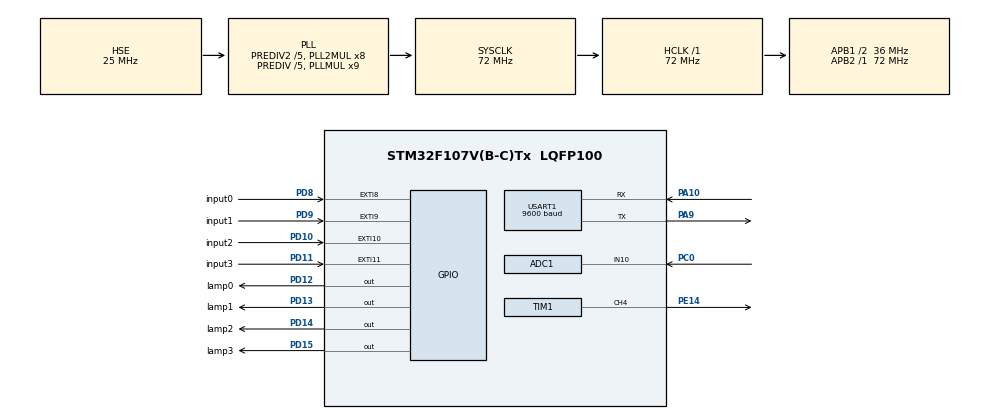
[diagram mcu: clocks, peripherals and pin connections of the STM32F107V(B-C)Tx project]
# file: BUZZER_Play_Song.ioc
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ADC1.Channel-0\#ChannelRegularConversion=ADC_CHANNEL_10
ADC1.NbrOfConversionFlag=1
ADC1.Rank-0\#ChannelRegularConversion=1
ADC1.SamplingTime-0\#ChannelRegularConversion=ADC_SAMPLETIME_1CYCLE_5
ADC1.master=1
Mcu.Family=STM32F1
Mcu.Name=STM32F107V(B-C)Tx
Mcu.Package=LQFP100
NVIC.EXTI15_10_IRQn=true\:0\:0\:false\:false\:true\:true\:true
NVIC.EXTI9_5_IRQn=true\:0\:0\:false\:false\:true\:true\:true
NVIC.PriorityGroup=NVIC_PRIORITYGROUP_4
NVIC.TIM3_IRQn=true\:0\:0\:false\:false\:true\:true\:true
OSC_IN.Mode=HSE-External-Oscillator
OSC_IN.Signal=RCC_OSC_IN
OSC_OUT.Mode=HSE-External-Oscillator
OSC_OUT.Signal=RCC_OSC_OUT
PA10.Mode=Asynchronous
PA10.Signal=USART1_RX
PA13.Mode=Serial_Wire
PA13.Signal=SYS_JTMS-SWDIO
PA14.Mode=Serial_Wire
PA14.Signal=SYS_JTCK-SWCLK
PA9.Mode=Asynchronous
PA9.Signal=USART1_TX
PC0.Signal=ADCx_IN10
PD10.GPIO_Label=input2
PD10.Signal=GPXTI10
PD11.GPIO_Label=input3
PD11.Signal=GPXTI11
PD12.GPIO_Label=lamp0
PD12.Signal=GPIO_Output
PD13.GPIO_Label=lamp1
PD13.Signal=GPIO_Output
PD14.GPIO_Label=lamp2
PD14.Signal=GPIO_Output
PD15.GPIO_Label=lamp3
PD15.Signal=GPIO_Output
PD8.GPIO_Label=input0
PD8.Signal=GPXTI8
PD9.GPIO_Label=input1
PD9.Signal=GPXTI9
PE14.Signal=S_TIM1_CH4
ProjectManager.HeapSize=0x200
ProjectManager.StackSize=0x400
ProjectManager.TargetToolchain=MDK-ARM V5
RCC.ADCPresc=RCC_ADCPCLK2_DIV8
RCC.AHBFreq_Value=72000000
RCC.APB1CLKDivider=RCC_HCLK_DIV2
RCC.APB1Freq_Value=36000000
RCC.APB1TimFreq_Value=72000000
RCC.APB2Freq_Value=72000000
RCC.APB2TimFreq_Value=72000000
RCC.HCLKFreq_Value=72000000
RCC.HSEDivPLL=RCC_HSE_PREDIV_DIV5
RCC.HSE_VALUE=25000000
RCC.PLLMUL=RCC_PLL_MUL9
RCC.PLLSourceVirtual=RCC_PLLSOURCE_HSE
RCC.Prediv1Source=RCC_PREDIV1_SOURCE_PLL2
RCC.Prediv2=RCC_HSE_PREDIV2_DIV5
RCC.SYSCLKFreq_VALUE=72000000
RCC.SYSCLKSource=RCC_SYSCLKSOURCE_PLLCLK
RCC.USBFreq_Value=48000000
SH.ADCx_IN10.0=ADC1_IN10,IN10
SH.S_TIM1_CH4.0=TIM1_CH4,PWM Generation4 CH4
TIM1.Channel-PWM\ Generation4\ CH4=TIM_CHANNEL_4
TIM1.Period=0xFFFF
TIM1.Prescaler=21
TIM1.Pulse-PWM\ Generation4\ CH4=50
TIM3.Period=0xFFFF
TIM3.Prescaler=21
USART1.BaudRate=9600
USART1.VirtualMode=VM_ASYNC
VP_TIM3_VS_ClockSourceINT.Mode=Internal
board=custom

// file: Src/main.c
/* USER CODE BEGIN Header */
/**
  ******************************************************************************
  * @file           : main.c
  * @brief          : Main program body
  ******************************************************************************
  ** This notice applies to any and all portions of this file
  * that are not between comment pairs USER CODE BEGIN and
  * USER CODE END. Other portions of this file, whether
  * inserted by the user or by software development tools
  * are owned by their respective copyright owners.
  *
  * COPYRIGHT(c) 2019 STMicroelectronics
  *
  * Redistribution and use in source and binary forms, with or without modification,
  * are permitted provided that the following conditions are met:
  *   1. Redistributions of source code must retain the above copyright notice,
  *      this list of conditions and the following disclaimer.
  *   2. Redistributions in binary form must reproduce the above copyright notice,
  *      this list of conditions and the following disclaimer in the documentation
  *      and/or other materials provided with the distribution.
  *   3. Neither the name of STMicroelectronics nor the names of its contributors
  *      may be used to endorse or promote products derived from this software
  *      without specific prior written permission.
  *
  * THIS SOFTWARE IS PROVIDED BY THE COPYRIGHT HOLDERS AND CONTRIBUTORS "AS IS"
  * AND ANY EXPRESS OR IMPLIED WARRANTIES, INCLUDING, BUT NOT LIMITED TO, THE
  * IMPLIED WARRANTIES OF MERCHANTABILITY AND FITNESS FOR A PARTICULAR PURPOSE ARE
  * DISCLAIMED. IN NO EVENT SHALL THE COPYRIGHT HOLDER OR CONTRIBUTORS BE LIABLE
  * FOR ANY DIRECT, INDIRECT, INCIDENTAL, SPECIAL, EXEMPLARY, OR CONSEQUENTIAL
  * DAMAGES (INCLUDING, BUT NOT LIMITED TO, PROCUREMENT OF SUBSTITUTE GOODS OR
  * SERVICES; LOSS OF USE, DATA, OR PROFITS; OR BUSINESS INTERRUPTION) HOWEVER
  * CAUSED AND ON ANY THEORY OF LIABILITY, WHETHER IN CONTRACT, STRICT LIABILITY,
  * OR TORT (INCLUDING NEGLIGENCE OR OTHERWISE) ARISING IN ANY WAY OUT OF THE USE
  * OF THIS SOFTWARE, EVEN IF ADVISED OF THE POSSIBILITY OF SUCH DAMAGE.
  *
  ******************************************************************************
  */
/* USER CODE END Header */

#include "main.h"

/* USER CODE BEGIN Includes */
#include <math.h>
#include <stdbool.h>
/* USER CODE END Includes */

ADC_HandleTypeDef hadc1;

TIM_HandleTypeDef htim1;
TIM_HandleTypeDef htim3;

UART_HandleTypeDef huart1;

/* USER CODE BEGIN PV */
int8_t song[] = {-3, 2, 5, 4, 2, 5, 2, 4, 2, -2, 0, -3};
uint8_t songSize = 12;
/* USER CODE END PV */

void SystemClock_Config(void);
static void MX_GPIO_Init(void);
static void MX_TIM1_Init(void);
static void MX_ADC1_Init(void);
static void MX_USART1_UART_Init(void);
static void MX_TIM3_Init(void);

/* USER CODE BEGIN 0 */
char temp[64];
uint8_t datastring[64];
bool lamps[] = {0,0,0,0};
int timeTick=0;
/* USER CODE END 0 */

int main(void)
{

  /* MCU Configuration--------------------------------------------------------*/

  /* Reset of all peripherals, Initializes the Flash interface and the Systick. */
  HAL_Init();

  /* Configure the system clock */
  SystemClock_Config();

  /* Initialize all configured peripherals */
  MX_GPIO_Init();
  MX_TIM1_Init();
  MX_ADC1_Init();
  MX_USART1_UART_Init();
  MX_TIM3_Init();
  /* USER CODE BEGIN 2 */
	HAL_TIM_PWM_Start(&htim1,TIM_CHANNEL_4);
	HAL_ADCEx_Calibration_Start(&hadc1);
	HAL_TIM_Base_Start_IT(&htim3);

  /* USER CODE END 2 */

  /* Infinite loop */
  /* USER CODE BEGIN WHILE */
	uint32_t adcReturnValue = 0;
	int8_t n = 0;
	double_t noteFreq = 440;
	uint16_t arr = 1000;

  while (1)
  {

		HAL_ADC_Start(&hadc1);

		if ( HAL_ADC_PollForConversion(&hadc1,1000) == HAL_OK){
			adcReturnValue = HAL_ADC_GetValue(&hadc1);
			n = floor(adcReturnValue / 42.217) - 36;
			noteFreq = 440*pow(1.059463094359, n);
			arr = (double_t)72000000 / noteFreq / (htim1.Init.Prescaler+ 1) - 1;
			__HAL_TIM_SET_AUTORELOAD(&htim1, arr);//set the new period
			__HAL_TIM_SET_COMPARE(&htim1, TIM_CHANNEL_4, (int)arr/2);//keep 50% duty cycle
		}

		sprintf(temp, "\r\n* Time: %d\r\n* Temp: %d\r\n* Lamps:\r\n\t1. %s\r\n\t2. %s\r\n\t3. %s\r\n\t4. %s\r\n", timeTick, adcReturnValue,
		lamps[0] ? "T" : "F",
		lamps[1] ? "T" : "F",
		lamps[2] ? "T" : "F",
		lamps[3] ? "T" : "F");

		for(int i=0;i<50;i++){
			datastring[i]=temp[i];
		}
		HAL_UART_Transmit(&huart1, datastring, sizeof(datastring), HAL_MAX_DELAY);

		HAL_Delay(100);
		HAL_ADC_Stop(&hadc1);
    /* USER CODE END WHILE */

  }
}

void SystemClock_Config(void)
{
  RCC_OscInitTypeDef RCC_OscInitStruct = {0};
  RCC_ClkInitTypeDef RCC_ClkInitStruct = {0};
  RCC_PeriphCLKInitTypeDef PeriphClkInit = {0};

  /**Initializes the CPU, AHB and APB busses clocks
  */
  RCC_OscInitStruct.OscillatorType = RCC_OSCILLATORTYPE_HSE;
  RCC_OscInitStruct.HSEState = RCC_HSE_ON;
  RCC_OscInitStruct.HSEPredivValue = RCC_HSE_PREDIV_DIV5;
  RCC_OscInitStruct.HSIState = RCC_HSI_ON;
  RCC_OscInitStruct.Prediv1Source = RCC_PREDIV1_SOURCE_PLL2;
  RCC_OscInitStruct.PLL.PLLState = RCC_PLL_ON;
  RCC_OscInitStruct.PLL.PLLSource = RCC_PLLSOURCE_HSE;
  RCC_OscInitStruct.PLL.PLLMUL = RCC_PLL_MUL9;
  RCC_OscInitStruct.PLL2.PLL2State = RCC_PLL2_ON;
  RCC_OscInitStruct.PLL2.PLL2MUL = RCC_PLL2_MUL8;
  RCC_OscInitStruct.PLL2.HSEPrediv2Value = RCC_HSE_PREDIV2_DIV5;
  if (HAL_RCC_OscConfig(&RCC_OscInitStruct) != HAL_OK)
  {
    Error_Handler();
  }
  /**Initializes the CPU, AHB and APB busses clocks
  */
  RCC_ClkInitStruct.ClockType = RCC_CLOCKTYPE_HCLK|RCC_CLOCKTYPE_SYSCLK
                              |RCC_CLOCKTYPE_PCLK1|RCC_CLOCKTYPE_PCLK2;
  RCC_ClkInitStruct.SYSCLKSource = RCC_SYSCLKSOURCE_PLLCLK;
  RCC_ClkInitStruct.AHBCLKDivider = RCC_SYSCLK_DIV1;
  RCC_ClkInitStruct.APB1CLKDivider = RCC_HCLK_DIV2;
  RCC_ClkInitStruct.APB2CLKDivider = RCC_HCLK_DIV1;

  if (HAL_RCC_ClockConfig(&RCC_ClkInitStruct, FLASH_LATENCY_2) != HAL_OK)
  {
    Error_Handler();
  }
  PeriphClkInit.PeriphClockSelection = RCC_PERIPHCLK_ADC;
  PeriphClkInit.AdcClockSelection = RCC_ADCPCLK2_DIV8;
  if (HAL_RCCEx_PeriphCLKConfig(&PeriphClkInit) != HAL_OK)
  {
    Error_Handler();
  }
  /**Configure the Systick interrupt time
  */
  __HAL_RCC_PLLI2S_ENABLE();
}

static void MX_ADC1_Init(void)
{

  ADC_ChannelConfTypeDef sConfig = {0};

  /**Common config
  */
  hadc1.Instance = ADC1;
  hadc1.Init.ScanConvMode = ADC_SCAN_DISABLE;
  hadc1.Init.ContinuousConvMode = DISABLE;
  hadc1.Init.DiscontinuousConvMode = DISABLE;
  hadc1.Init.ExternalTrigConv = ADC_SOFTWARE_START;
  hadc1.Init.DataAlign = ADC_DATAALIGN_RIGHT;
  hadc1.Init.NbrOfConversion = 1;
  if (HAL_ADC_Init(&hadc1) != HAL_OK)
  {
    Error_Handler();
  }
  /**Configure Regular Channel
  */
  sConfig.Channel = ADC_CHANNEL_10;
  sConfig.Rank = ADC_REGULAR_RANK_1;
  sConfig.SamplingTime = ADC_SAMPLETIME_1CYCLE_5;
  if (HAL_ADC_ConfigChannel(&hadc1, &sConfig) != HAL_OK)
  {
    Error_Handler();
  }

}

static void MX_TIM1_Init(void)
{

  TIM_MasterConfigTypeDef sMasterConfig = {0};
  TIM_OC_InitTypeDef sConfigOC = {0};
  TIM_BreakDeadTimeConfigTypeDef sBreakDeadTimeConfig = {0};

  htim1.Instance = TIM1;
  htim1.Init.Prescaler = 21;
  htim1.Init.CounterMode = TIM_COUNTERMODE_UP;
  htim1.Init.Period = 0xFFFF;
  htim1.Init.ClockDivision = TIM_CLOCKDIVISION_DIV1;
  htim1.Init.RepetitionCounter = 0;
  htim1.Init.AutoReloadPreload = TIM_AUTORELOAD_PRELOAD_DISABLE;
  if (HAL_TIM_PWM_Init(&htim1) != HAL_OK)
  {
    Error_Handler();
  }
  sMasterConfig.MasterOutputTrigger = TIM_TRGO_RESET;
  sMasterConfig.MasterSlaveMode = TIM_MASTERSLAVEMODE_DISABLE;
  if (HAL_TIMEx_MasterConfigSynchronization(&htim1, &sMasterConfig) != HAL_OK)
  {
    Error_Handler();
  }
  sConfigOC.OCMode = TIM_OCMODE_PWM1;
  sConfigOC.Pulse = 50;
  sConfigOC.OCPolarity = TIM_OCPOLARITY_HIGH;
  sConfigOC.OCFastMode = TIM_OCFAST_DISABLE;
  sConfigOC.OCIdleState = TIM_OCIDLESTATE_RESET;
  sConfigOC.OCNIdleState = TIM_OCNIDLESTATE_RESET;
  if (HAL_TIM_PWM_ConfigChannel(&htim1, &sConfigOC, TIM_CHANNEL_4) != HAL_OK)
  {
    Error_Handler();
  }
  sBreakDeadTimeConfig.OffStateRunMode = TIM_OSSR_DISABLE;
  sBreakDeadTimeConfig.OffStateIDLEMode = TIM_OSSI_DISABLE;
  sBreakDeadTimeConfig.LockLevel = TIM_LOCKLEVEL_OFF;
  sBreakDeadTimeConfig.DeadTime = 0;
  sBreakDeadTimeConfig.BreakState = TIM_BREAK_DISABLE;
  sBreakDeadTimeConfig.BreakPolarity = TIM_BREAKPOLARITY_HIGH;
  sBreakDeadTimeConfig.AutomaticOutput = TIM_AUTOMATICOUTPUT_DISABLE;
  if (HAL_TIMEx_ConfigBreakDeadTime(&htim1, &sBreakDeadTimeConfig) != HAL_OK)
  {
    Error_Handler();
  }
  HAL_TIM_MspPostInit(&htim1);

}

static void MX_TIM3_Init(void)
{

  TIM_ClockConfigTypeDef sClockSourceConfig = {0};
  TIM_MasterConfigTypeDef sMasterConfig = {0};

  htim3.Instance = TIM3;
  htim3.Init.Prescaler = 21;
  htim3.Init.CounterMode = TIM_COUNTERMODE_UP;
  htim3.Init.Period = 0xFFFF;
  htim3.Init.ClockDivision = TIM_CLOCKDIVISION_DIV1;
  htim3.Init.AutoReloadPreload = TIM_AUTORELOAD_PRELOAD_DISABLE;
  if (HAL_TIM_Base_Init(&htim3) != HAL_OK)
  {
    Error_Handler();
  }
  sClockSourceConfig.ClockSource = TIM_CLOCKSOURCE_INTERNAL;
  if (HAL_TIM_ConfigClockSource(&htim3, &sClockSourceConfig) != HAL_OK)
  {
    Error_Handler();
  }
  sMasterConfig.MasterOutputTrigger = TIM_TRGO_RESET;
  sMasterConfig.MasterSlaveMode = TIM_MASTERSLAVEMODE_DISABLE;
  if (HAL_TIMEx_MasterConfigSynchronization(&htim3, &sMasterConfig) != HAL_OK)
  {
    Error_Handler();
  }

}

static void MX_USART1_UART_Init(void)
{

  huart1.Instance = USART1;
  huart1.Init.BaudRate = 9600;
  huart1.Init.WordLength = UART_WORDLENGTH_8B;
  huart1.Init.StopBits = UART_STOPBITS_1;
  huart1.Init.Parity = UART_PARITY_NONE;
  huart1.Init.Mode = UART_MODE_TX_RX;
  huart1.Init.HwFlowCtl = UART_HWCONTROL_NONE;
  huart1.Init.OverSampling = UART_OVERSAMPLING_16;
  if (HAL_UART_Init(&huart1) != HAL_OK)
  {
    Error_Handler();
  }

}

static void MX_GPIO_Init(void)
{
  GPIO_InitTypeDef GPIO_InitStruct = {0};

  /* GPIO Ports Clock Enable */
  __HAL_RCC_GPIOC_CLK_ENABLE();
  __HAL_RCC_GPIOE_CLK_ENABLE();
  __HAL_RCC_GPIOD_CLK_ENABLE();
  __HAL_RCC_GPIOA_CLK_ENABLE();

  /*Configure GPIO pin Output Level */
  HAL_GPIO_WritePin(GPIOD, lamp0_Pin|lamp1_Pin|lamp2_Pin|lamp3_Pin, GPIO_PIN_RESET);

  /*Configure GPIO pins : input0_Pin input1_Pin input2_Pin input3_Pin */
  GPIO_InitStruct.Pin = input0_Pin|input1_Pin|input2_Pin|input3_Pin;
  GPIO_InitStruct.Mode = GPIO_MODE_IT_RISING;
  GPIO_InitStruct.Pull = GPIO_NOPULL;
  HAL_GPIO_Init(GPIOD, &GPIO_InitStruct);

  /*Configure GPIO pins : lamp0_Pin lamp1_Pin lamp2_Pin lamp3_Pin */
  GPIO_InitStruct.Pin = lamp0_Pin|lamp1_Pin|lamp2_Pin|lamp3_Pin;
  GPIO_InitStruct.Mode = GPIO_MODE_OUTPUT_PP;
  GPIO_InitStruct.Pull = GPIO_NOPULL;
  GPIO_InitStruct.Speed = GPIO_SPEED_FREQ_LOW;
  HAL_GPIO_Init(GPIOD, &GPIO_InitStruct);

  /* EXTI interrupt init*/
  HAL_NVIC_SetPriority(EXTI9_5_IRQn, 0, 0);
  HAL_NVIC_EnableIRQ(EXTI9_5_IRQn);

  HAL_NVIC_SetPriority(EXTI15_10_IRQn, 0, 0);
  HAL_NVIC_EnableIRQ(EXTI15_10_IRQn);

}

/* USER CODE BEGIN 4 */

void HAL_GPIO_EXTI_Callback(uint16_t GPIO_Pin)
{
    if(GPIO_Pin == input0_Pin) // If The INT Source Is EXTI Line9 (A9 Pin)
    {
      HAL_GPIO_TogglePin(lamp0_GPIO_Port, lamp0_Pin); // Toggle The Output (LED) Pin
			lamps[0]=!lamps[0];
    }
		else if(GPIO_Pin == input1_Pin) // If The INT Source Is EXTI Line9 (A9 Pin)
    {
    HAL_GPIO_TogglePin(lamp1_GPIO_Port, lamp1_Pin); // Toggle The Output (LED) Pin
						lamps[1]=!lamps[1];

    }
		else if(GPIO_Pin == input2_Pin) // If The INT Source Is EXTI Line9 (A9 Pin)
    {
    HAL_GPIO_TogglePin(lamp2_GPIO_Port, lamp2_Pin); // Toggle The Output (LED) Pin
						lamps[2]=!lamps[2];

    }
		else if(GPIO_Pin == input3_Pin) // If The INT Source Is EXTI Line9 (A9 Pin)
    {
    HAL_GPIO_TogglePin(lamp3_GPIO_Port, lamp3_Pin); // Toggle The Output (LED) Pin
						lamps[3]=!lamps[3];

    }
}

void HAL_TIM_PeriodElapsedCallback(TIM_HandleTypeDef* htim)
{
    timeTick++;
}
/* USER CODE END 4 */

void Error_Handler(void)
{
}

/************************ (C) COPYRIGHT STMicroelectronics *****END OF FILE****/
